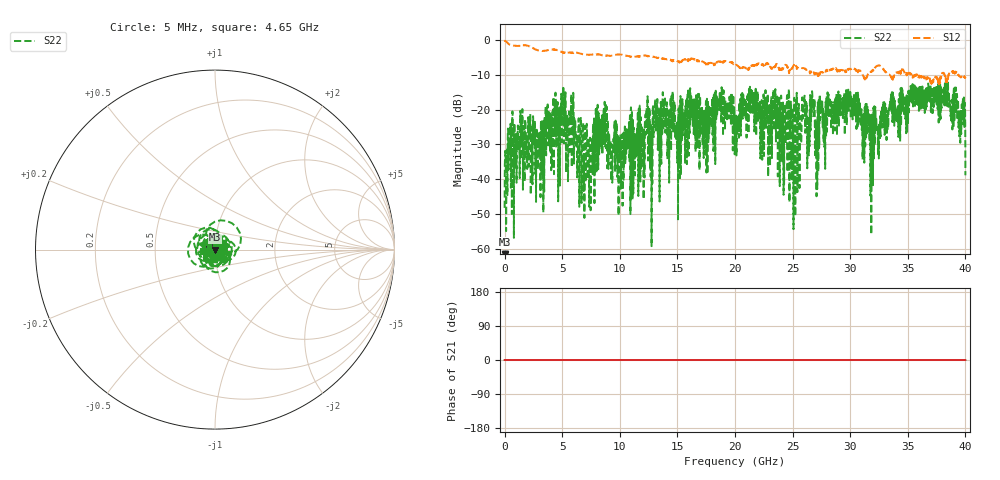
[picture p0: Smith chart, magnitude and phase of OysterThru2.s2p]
# MHz MA S R 50.0
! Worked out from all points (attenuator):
!   8000 points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, 5 MHz to 40 GHz, reference 50 ohm
!   highest |S21| = - dB at 5 MHz (marker M1); lowest = - dB at 5 MHz (marker M2)
!   lowest |S11| = - dB at 5 MHz (marker M3), VSWR 1.00, Z = 50 + j0 ohm
!   |S11| at or under -10 dB: start of sweep to end of sweep
!   |S22| runs from -59.2 to -11.5 dB; largest |S21 - S12| = 0.98
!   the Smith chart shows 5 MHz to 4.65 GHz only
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5  0 0.0  0 0.0  0.9816 -14.1  0.003875 35.2
175  0 0.0  0 0.0  0.9313 -123.3  0.01127 104.4
510  0 0.0  0 0.0  0.8483 40.9  0.05925 144.2
2925  0 0.0  0 0.0  0.7063 -82.2  0.04211 -36.8
5105  0 0.0  0 0.0  0.6448 81.3  0.2179 -4.2
6675  0 0.0  0 0.0  0.631 113.1  0.02266 32.6
7375  0 0.0  0 0.0  0.612 2.9  0.01854 -80.7
8700  0 0.0  0 0.0  0.5903 -16.8  0.1199 89.1
9210  0 0.0  0 0.0  0.5876 31.4  0.03001 -85.1
13340  0 0.0  0 0.0  0.5533 -97.5  0.07481 7.5
18670  0 0.0  0 0.0  0.4863 100.3  0.1738 20.3
20005  0 0.0  0 0.0  0.4446 45.2  0.0791 -71.9
21385  0 0.0  0 0.0  0.4161 -113.2  0.1918 146.0
24235  0 0.0  0 0.0  0.4161 14.3  0.0353 -93.2
26670  0 0.0  0 0.0  0.3425 -168.3  0.1531 -131.9
27125  0 0.0  0 0.0  0.3284 30.1  0.04966 -63.6
29830  0 0.0  0 0.0  0.3729 -160.7  0.1932 94.4
31795  0 0.0  0 0.0  0.346 -128.5  0.07322 -8.9
33335  0 0.0  0 0.0  0.3176 -37.3  0.1045 -167.8
38315  0 0.0  0 0.0  0.2482 22.9  0.2631 -56.2
39785  0 0.0  0 0.0  0.2955 -54.0  0.1427 47.6
40000  0 0.0  0 0.0  0.294 76.2  0.01139 -116.3
